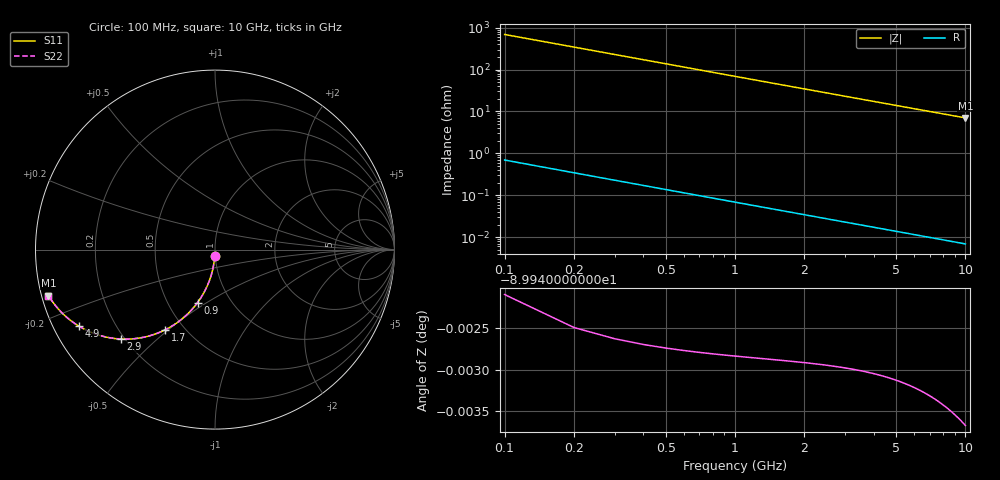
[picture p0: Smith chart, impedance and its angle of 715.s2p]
# Hz S RI R 50.00
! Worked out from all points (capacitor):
!   100 points, 100 MHz to 10 GHz, reference 50 ohm
!   read as one part in shunt: C = 2.32 pF near 100 MHz
!   lowest |Z| = 7.02 ohm at 10 GHz (marker M1)
!   S11 on the Smith chart (normalised r, x): 100 MHz: 0.99, -0.07; 900 MHz: 0.70, -0.46; 1.7 GHz: 0.40, -0.49; 2.9 GHz: 0.19, -0.39; 4.9 GHz: 0.07, -0.26; 10 GHz: 0.02, -0.14
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1e8  -0.00136 -0.0364  0.9986 -0.0364  0.9986 -0.0364  -0.00136 -0.0364
2e8  -0.00536 -0.0725  0.9946 -0.0726  0.9946 -0.0726  -0.00536 -0.0725
3e8  -0.0119 -0.108  0.9881 -0.1081  0.9881 -0.1081  -0.0119 -0.108
4e8  -0.0209 -0.1426  0.9791 -0.1428  0.9791 -0.1428  -0.0209 -0.1426
5e8  -0.0323 -0.1761  0.9677 -0.1764  0.9677 -0.1764  -0.0323 -0.1761
6e8  -0.0458 -0.2084  0.9542 -0.2086  0.9542 -0.2086  -0.0458 -0.2084
7e8  -0.0612 -0.2391  0.9388 -0.2394  0.9388 -0.2394  -0.0612 -0.2391
9e8  -0.0971 -0.2954  0.9029 -0.2958  0.9029 -0.2958  -0.0971 -0.2954
1.1e9  -0.1382 -0.3444  0.8618 -0.3449  0.8618 -0.3449  -0.1382 -0.3444
1.3e9  -0.1827 -0.3857  0.8173 -0.3863  0.8173 -0.3863  -0.1827 -0.3857
1.7e9  -0.276 -0.4461  0.724 -0.4469  0.724 -0.4469  -0.276 -0.4461
1.8e9  -0.2992 -0.457  0.7008 -0.4578  0.7008 -0.4578  -0.2992 -0.457
2.3e9  -0.4099 -0.4908  0.5901 -0.4918  0.5901 -0.4918  -0.4099 -0.4908
2.9e9  -0.5238 -0.4983  0.4762 -0.4996  0.4762 -0.4996  -0.5238 -0.4983
3.4e9  -0.6012 -0.4883  0.3987 -0.4899  0.3987 -0.4899  -0.6012 -0.4883
4.1e9  -0.6861 -0.4626  0.3139 -0.4646  0.3139 -0.4646  -0.6861 -0.4626
4.9e9  -0.7568 -0.4274  0.2432 -0.4297  0.2432 -0.4297  -0.7568 -0.4274
5.1e9  -0.7711 -0.4184  0.2289 -0.4208  0.2289 -0.4208  -0.7711 -0.4184
5.9e9  -0.8181 -0.3839  0.1819 -0.3866  0.1819 -0.3866  -0.8181 -0.3839
6.7e9  -0.8527 -0.3523  0.1473 -0.3555  0.1473 -0.3555  -0.8527 -0.3523
8.4e9  -0.9008 -0.2965  0.0992 -0.3005  0.0992 -0.3005  -0.9008 -0.2965
1e10  -0.9278 -0.2559  0.0722 -0.2607  0.0722 -0.2607  -0.9278 -0.2559
